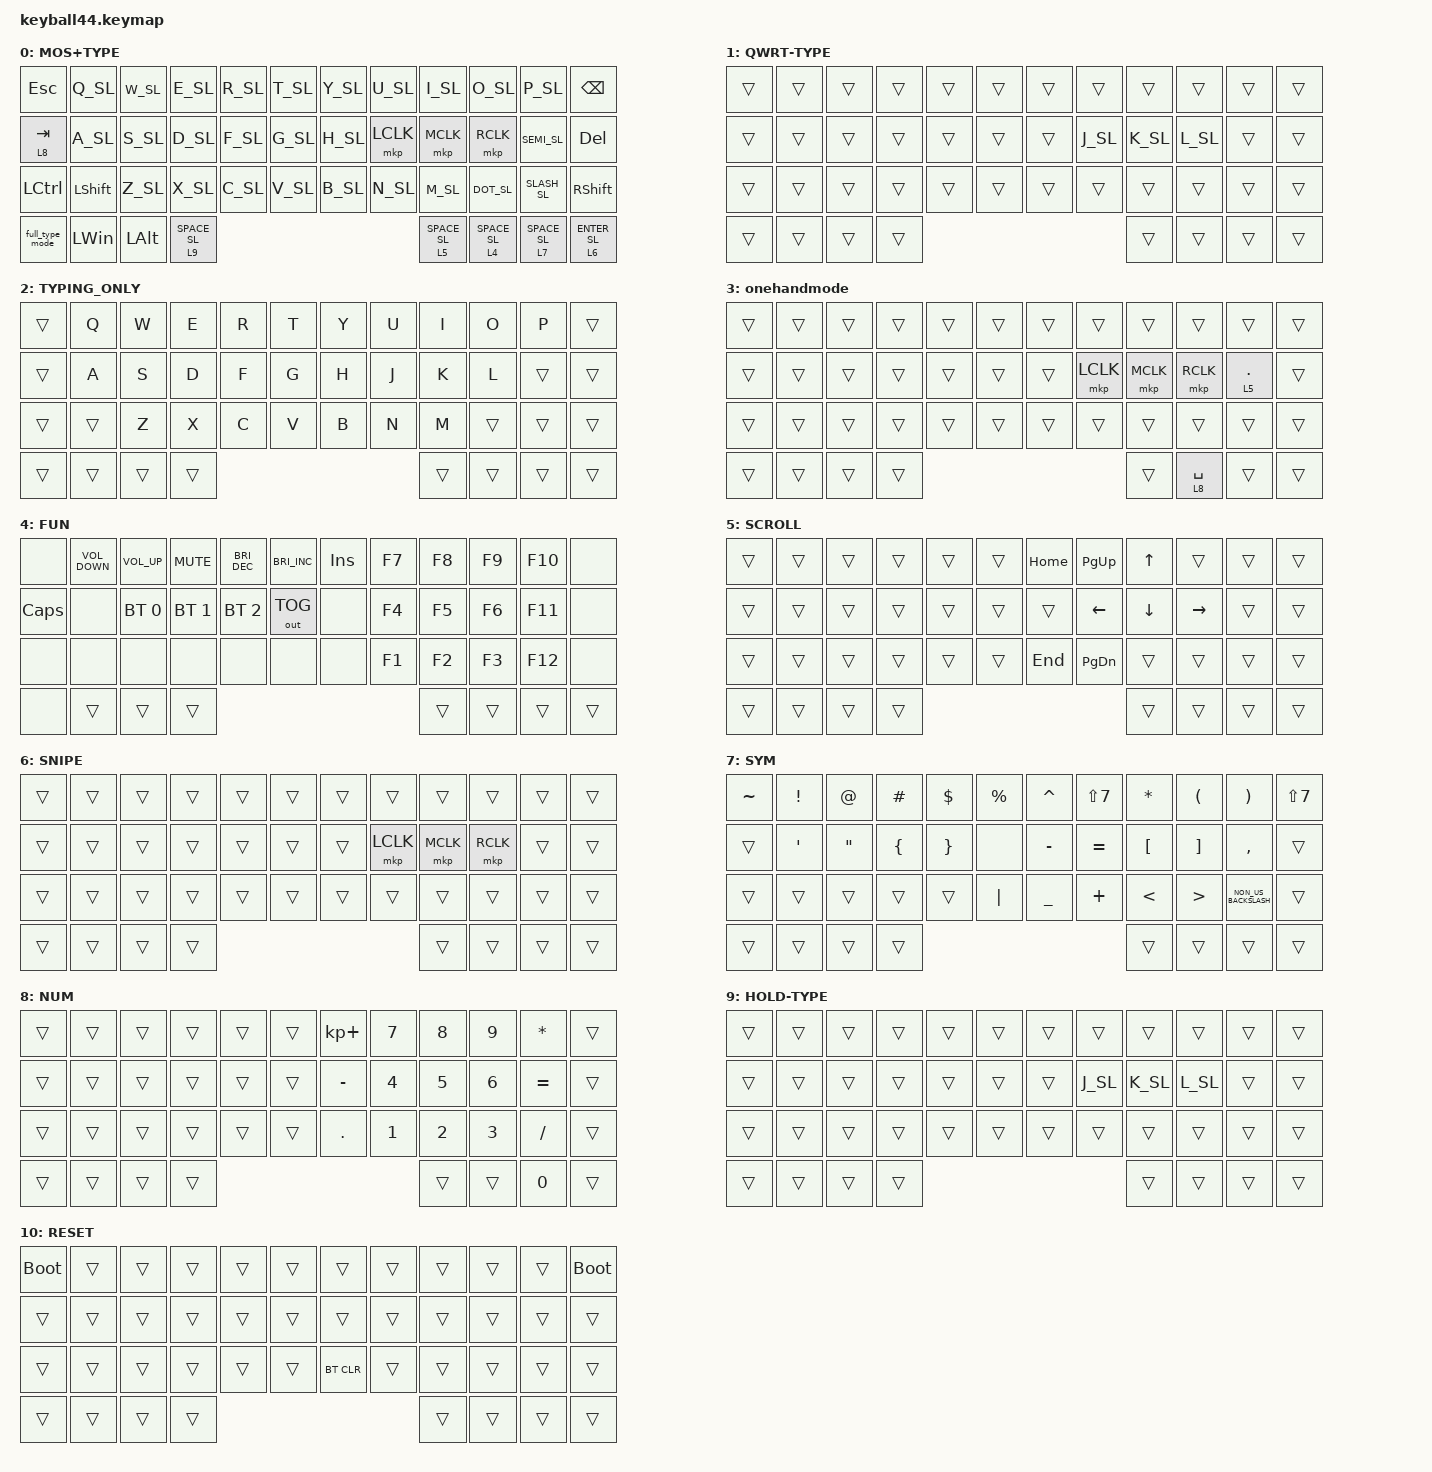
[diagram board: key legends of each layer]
#define DEFAULT 0
#define NUM     1
#define SYM     2
#define FUN     3
#define MOUSE   4
#define SCROLL  5
#define SNIPE   6

#include <behaviors/mouse_keys.dtsi>
#include <dt-bindings/zmk/mouse.h>
#include <behaviors.dtsi>
#include <dt-bindings/zmk/bt.h>
#include <dt-bindings/zmk/keys.h>
#include <dt-bindings/zmk/outputs.h>

&lt { flavor = "balanced"; };

&mt {
    tapping-term-ms = <200>;
    flavor = "tap-preferred";
    quick-tap-ms = <150>;
};

&caps_word { continue-list = <UNDERSCORE MINUS>; };

&sl { release-after-ms = <500>; };

/ {
    // custom shift using mod-morph 

    behaviors {
        cmqus: comma_question {
            compatible = "zmk,behavior-mod-morph";
            label = "COMMA_QUESTION";
            #binding-cells = <0>;
            bindings = <&kp COMMA>, <&kp QUESTION>;

            mods = <(MOD_LSFT|MOD_RSFT)>;
        };

        dtsmi: dot_semi {
            compatible = "zmk,behavior-mod-morph";
            label = "DOT_SEMI";
            #binding-cells = <0>;
            bindings = <&kp DOT>, <&kp SEMI>;

            mods = <(MOD_LSFT|MOD_RSFT)>;
        };

        test2: test2 {
            compatible = "zmk,behavior-sticky-key";
            label = "TEST2";
            bindings = <&kp>;
            #binding-cells = <1>;
            release-after-ms = <500>;
        };

        spacenum: spacenum {
            compatible = "zmk,behavior-hold-tap";
            label = "SPACENUM";
            bindings = <&mo>, <&SPACE_SL>;

            #binding-cells = <2>;
            tapping-term-ms = <200>;
        };

        new_space: new_space {
            compatible = "zmk,behavior-hold-tap";
            label = "NEW_SPACE";
            bindings = <&mo>, <&SPACE_SL>;

            #binding-cells = <2>;
            tapping-term-ms = <150>;
            quick-tap-ms = <100>;
            flavor = "tap-preferred";
        };

        sem: sem {
            compatible = "zmk,behavior-tap-dance";
            label = "SEM";
            #binding-cells = <0>;
            bindings = <&kp SEMICOLON>, <&kp COMMA>;
        };

        shiftkeyboard: shiftkeyboard {
            compatible = "zmk,behavior-tap-dance";
            label = "SHIFTKEYBOARD";
            #binding-cells = <0>;
            bindings = <&lt 2 SPACE>, <&tog 2>;
        };

        doubleL5: doubleL5 {
            compatible = "zmk,behavior-tap-dance";
            label = "DOUBLEL5";
            #binding-cells = <0>;
            bindings = <&lt 5 SPACE>, <&tog 2>;
        };

        spacetype: spacetype {
            compatible = "zmk,behavior-hold-tap";
            label = "SPACETYPE";
            bindings = <&lt>, <&sl>;

            #binding-cells = <2>;
            tapping-term-ms = <200>;
        };

        full_type_mode: full_type_mode {
            compatible = "zmk,behavior-tap-dance";
            label = "FULL_TYPE_MODE";
            #binding-cells = <0>;
            bindings = <&kp LEFT_WIN>, <&tog 2>;
        };

        // Thumb space: hold = momentary layer, tap = SPACE + arm &sl 1.
        // tap-preferred so a fast letter after the space can never steal the
        // space and drop you onto the hold layer instead.
        //
        // Deliberately NO quick-tap-ms here: quick-tap forces a second tap when
        // you re-press within the window, which would turn "space, then hold for
        // SYM" into two spaces -- i.e. it would break typing "a && b".

        spc_lt: spc_lt {
            compatible = "zmk,behavior-hold-tap";
            label = "SPC_LT";
            bindings = <&mo>, <&SPACE_SL>;

            #binding-cells = <2>;
            tapping-term-ms = <150>;
            flavor = "tap-preferred";
        };

        // NOTE: the SYM thumb briefly used a separate hold-preferred behaviour
        // to try to fix SYM+U. It did not -- position 7 fails with any binding,
        // including a macro -- and hold-preferred made the space on that thumb
        // drop whenever a letter landed before the thumb was released. Reverted
        // to plain spc_lt; do not reintroduce hold-preferred on a key that also
        // has to produce spaces.

        // Same, but taps KP_ENTER + arms &sl 1.

        ent_lt: ent_lt {
            compatible = "zmk,behavior-hold-tap";
            label = "ENT_LT";
            bindings = <&mo>, <&ENTER_SL>;

            #binding-cells = <2>;
            tapping-term-ms = <150>;
            flavor = "tap-preferred";
        };

        // Esc / Backspace / Delete are deliberately plain &kp, NOT _SL macros
        // and not hold-taps: they fire on press (no hold-tap release latency),
        // they get native OS auto-repeat, and they do not arm &sl 1 -- so you
        // stay on layer 0 and the mouse buttons are live straight after them.
        // Trade-off: typing j/k/l immediately after one of these will click.
        // ESC_SL / BK_SL / DEL_SL are kept below if you want to swap back.
    };

    combos {
        compatible = "zmk,combos";

        // `layers` keeps these off SYM / NUM / FUN / SCROLL / SNIPE. ZMK matches
        // against the *highest* active layer, so every layer you may toggle
        // from has to be listed here.

        TypingMode {
            bindings = <&tog 2>;
            key-positions = <42 38>;
            layers = <0 1 2 3 9>;
            timeout-ms = <40>;
        };

        onehandmode {
            bindings = <&tog 3>;
            key-positions = <43 41>;
            layers = <0 1 2 3 9>;
            timeout-ms = <30>;
        };

        // NOTE: &bootloader must NOT be put on a combo. It is
        // BEHAVIOR_LOCALITY_EVENT_SOURCE (it resets the half the key physically
        // lives on), but combos invoke their binding with a *virtual* key
        // position, which bypasses split routing -- a combo'd &bootloader can
        // only ever reset the central (right) half. Left-half reset therefore
        // has to stay a plain binding on a left-half key. See the RESET layer.
    };

    macros {
        SPACE_SL: SPACE_SL {
            compatible = "zmk,behavior-macro";
            #binding-cells = <0>;
            bindings = <&kp SPACE &sl 1>;
            label = "&SPACE_SL";
        };

        Q_SL: Q_SL {
            compatible = "zmk,behavior-macro";
            #binding-cells = <0>;
            bindings = <&kp Q &sl 1>;
            label = "Q_SL";
        };

        W_SL: W_SL {
            compatible = "zmk,behavior-macro";
            #binding-cells = <0>;
            bindings = <&kp W &sl 1>;
            label = "W_SL";
        };

        E_SL: E_SL {
            compatible = "zmk,behavior-macro";
            #binding-cells = <0>;
            bindings = <&kp E &sl 1>;
            label = "E_SL";
        };

        R_SL: R_SL {
            compatible = "zmk,behavior-macro";
            #binding-cells = <0>;
            bindings = <&kp R &sl 1>;
            label = "R_SL";
        };

        T_SL: T_SL {
            compatible = "zmk,behavior-macro";
            #binding-cells = <0>;
            bindings = <&kp T &sl 1>;
            label = "T_SL";
        };

        A_SL: A_SL {
            compatible = "zmk,behavior-macro";
            #binding-cells = <0>;
            bindings = <&kp A &sl 1>;
            label = "A_SL";
        };

        B_SL: B_SL {
            compatible = "zmk,behavior-macro";
            #binding-cells = <0>;
            bindings = <&kp B &sl 1>;
            label = "B_SL";
        };

        C_SL: C_SL {
            compatible = "zmk,behavior-macro";
            #binding-cells = <0>;
            bindings = <&kp C &sl 1>;
            label = "C_SL";
        };

        BK_SL: BK_SL {
            compatible = "zmk,behavior-macro";
            #binding-cells = <0>;
            bindings = <&kp BACKSPACE &sl 1>;
            label = "BK_SL";
        };

        DEL_SL: DEL_SL {
            compatible = "zmk,behavior-macro";
            #binding-cells = <0>;
            bindings = <&kp DELETE &sl 1>;
            label = "DEL_SL";
        };

        J_SL: J_SL {
            compatible = "zmk,behavior-macro";
            #binding-cells = <0>;
            bindings = <&kp J &sl 1>;
            label = "J_SL";
        };

        K_SL: K_SL {
            compatible = "zmk,behavior-macro";
            #binding-cells = <0>;
            bindings = <&kp K &sl 1>;
            label = "K_SL";
        };

        L_SL: L_SL {
            compatible = "zmk,behavior-macro";
            #binding-cells = <0>;
            bindings = <&kp L &sl 1>;
            label = "L_SL";
        };

        O_SL: O_SL {
            compatible = "zmk,behavior-macro";
            #binding-cells = <0>;
            bindings = <&kp O &sl 1>;
            label = "O_SL";
        };

        P_SL: P_SL {
            compatible = "zmk,behavior-macro";
            #binding-cells = <0>;
            bindings = <&kp P &sl 1>;
            label = "P_SL";
        };

        H_SL: H_SL {
            compatible = "zmk,behavior-macro";
            #binding-cells = <0>;
            bindings = <&kp H &sl 1>;
            label = "H_SL";
        };

        U_SL: U_SL {
            compatible = "zmk,behavior-macro";
            #binding-cells = <0>;
            bindings = <&kp U &sl 1>;
            label = "U_SL";
        };

        Y_SL: Y_SL {
            compatible = "zmk,behavior-macro";
            #binding-cells = <0>;
            bindings = <&kp Y &sl 1>;
            label = "Y_SL";
        };

        I_SL: I_SL {
            compatible = "zmk,behavior-macro";
            #binding-cells = <0>;
            bindings = <&kp I &sl 1>;
            label = "I_SL";
        };

        S_SL: S_SL {
            compatible = "zmk,behavior-macro";
            #binding-cells = <0>;
            bindings = <&kp S &sl 1>;
            label = "S_SL";
        };

        V_SL: V_SL {
            compatible = "zmk,behavior-macro";
            #binding-cells = <0>;
            bindings = <&kp V &sl 1>;
            label = "V_SL";
        };

        M_SL: M_SL {
            compatible = "zmk,behavior-macro";
            #binding-cells = <0>;
            bindings = <&kp M &sl 1>;
            label = "M_SL";
        };

        N_SL: N_SL {
            compatible = "zmk,behavior-macro";
            #binding-cells = <0>;
            bindings = <&kp N &sl 1>;
            label = "N_SL";
        };

        D_SL: D_SL {
            compatible = "zmk,behavior-macro";
            #binding-cells = <0>;
            bindings = <&kp D &sl 1>;
            label = "D_SL";
        };

        F_SL: F_SL {
            compatible = "zmk,behavior-macro";
            #binding-cells = <0>;
            bindings = <&kp F &sl 1>;
            label = "F_SL";
        };

        G_SL: G_SL {
            compatible = "zmk,behavior-macro";
            #binding-cells = <0>;
            bindings = <&kp G &sl 1>;
            label = "G_SL";
        };

        Z_SL: Z_SL {
            compatible = "zmk,behavior-macro";
            #binding-cells = <0>;
            bindings = <&kp Z &sl 1>;
            label = "Z_SL";
        };

        X_SL: X_SL {
            compatible = "zmk,behavior-macro";
            #binding-cells = <0>;
            bindings = <&kp X &sl 1>;
            label = "X_SL";
        };

        // Non-letter keys that occur inside a typing flow must arm &sl 1 too,
        // otherwise the next j/k/l falls through to layer 0 and clicks.

        ESC_SL: ESC_SL {
            compatible = "zmk,behavior-macro";
            #binding-cells = <0>;
            bindings = <&kp ESC &sl 1>;
            label = "ESC_SL";
        };

        SEMI_SL: SEMI_SL {
            compatible = "zmk,behavior-macro";
            #binding-cells = <0>;
            bindings = <&kp SEMICOLON &sl 1>;
            label = "SEMI_SL";
        };

        DOT_SL: DOT_SL {
            compatible = "zmk,behavior-macro";
            #binding-cells = <0>;
            bindings = <&kp DOT &sl 1>;
            label = "DOT_SL";
        };

        SLASH_SL: SLASH_SL {
            compatible = "zmk,behavior-macro";
            #binding-cells = <0>;
            bindings = <&kp SLASH &sl 1>;
            label = "SLASH_SL";
        };

        ENTER_SL: ENTER_SL {
            compatible = "zmk,behavior-macro";
            #binding-cells = <0>;
            bindings = <&kp KP_ENTER &sl 1>;
            label = "ENTER_SL";
        };

    };

    keymap {
        compatible = "zmk,keymap";

        default_layer {
            label = "MOS+TYPE";
            bindings = <
&kp ESC           &Q_SL           &W_SL         &E_SL          &R_SL          &T_SL                     &Y_SL          &U_SL      &I_SL      &O_SL      &P_SL     &kp BACKSPACE
&lt 8 TAB         &A_SL           &S_SL         &D_SL          &F_SL          &G_SL                     &H_SL          &mkp LCLK  &mkp MCLK  &mkp RCLK  &SEMI_SL  &kp DEL
&kp LEFT_CONTROL  &kp LEFT_SHIFT  &Z_SL         &X_SL          &C_SL          &V_SL                     &B_SL          &N_SL      &M_SL      &DOT_SL    &SLASH_SL &kp RIGHT_SHIFT
&full_type_mode   &kp LEFT_WIN    &kp LEFT_ALT  &spc_lt 9 0    &spc_lt 5 0               &spc_lt 4 0    &spc_lt 7 0                                                &ent_lt 6 0
            >;
        };

        TRANS_LAYER {
            bindings = <
&trans  &trans  &trans  &trans  &trans  &trans              &trans  &trans  &trans  &trans  &trans  &trans
&trans  &trans  &trans  &trans  &trans  &trans              &trans  &J_SL   &K_SL   &L_SL   &trans  &trans
&trans  &trans  &trans  &trans  &trans  &trans              &trans  &trans  &trans  &trans  &trans  &trans
&trans  &trans  &trans  &trans  &trans              &trans  &trans                                  &trans
            >;

            label = "QWRT-TYPE";
        };

        FULL_TYPE {
            label = "TYPING_ONLY";
            bindings = <
&trans  &kp Q   &kp W   &kp E   &kp R   &kp T              &kp Y   &kp U  &kp I  &kp O   &kp P   &trans
&trans  &kp A   &kp S   &kp D   &kp F   &kp G              &kp H   &kp J  &kp K  &kp L   &trans  &trans
&trans  &trans  &kp Z   &kp X   &kp C   &kp V              &kp B   &kp N  &kp M  &trans  &trans  &trans
&trans  &trans  &trans  &trans  &trans             &trans  &trans                                &trans
            >;
        };

        onehandmode {
            bindings = <
&trans  &trans  &trans  &trans  &trans  &trans                   &trans  &trans     &trans     &trans     &trans        &trans
&trans  &trans  &trans  &trans  &trans  &trans                   &trans  &mkp LCLK  &mkp MCLK  &mkp RCLK  &lt 5 PERIOD  &trans
&trans  &trans  &trans  &trans  &trans  &trans                   &trans  &trans     &trans     &trans     &trans        &trans
&trans  &trans  &trans  &trans  &trans              &lt 8 SPACE  &trans                                                 &trans
            >;

            label = "onehandmode";
        };

        function_layer {
            label = "FUN";
            bindings = <
&none        &kp C_VOLUME_DOWN  &kp C_VOLUME_UP  &kp C_MUTE    &kp C_BRIGHTNESS_DEC  &kp C_BRIGHTNESS_INC              &kp INSERT  &kp F7  &kp F8  &kp F9  &kp F10  &none
&kp CAPS     &none              &bt BT_SEL 0     &bt BT_SEL 1  &bt BT_SEL 2          &out OUT_TOG                      &none       &kp F4  &kp F5  &kp F6  &kp F11  &none
&none        &none              &none            &none         &none                 &none                             &none       &kp F1  &kp F2  &kp F3  &kp F12  &none
&none        &trans             &trans           &trans        &trans                                          &trans  &trans                                       &trans
            >;
        };

        scroll_layer {
            label = "SCROLL";
            bindings = <
&trans  &trans  &trans  &trans  &trans  &trans              &kp HOME  &kp PG_UP  &kp UP    &trans     &trans  &trans
&trans  &trans  &trans  &trans  &trans  &trans              &trans    &kp LEFT   &kp DOWN  &kp RIGHT  &trans  &trans
&trans  &trans  &trans  &trans  &trans  &trans              &kp END   &kp PG_DN  &trans    &trans     &trans  &trans
&trans  &trans  &trans  &trans  &trans              &trans  &trans                                            &trans
            >;
        };

        snipe_layer {
            label = "SNIPE";
            bindings = <
&trans       &trans  &trans        &trans        &trans        &trans              &trans  &trans     &trans     &trans     &trans  &trans
&trans       &trans  &trans        &trans        &trans        &trans              &trans  &mkp LCLK  &mkp MCLK  &mkp RCLK  &trans  &trans
&trans       &trans  &trans        &trans        &trans        &trans              &trans  &trans     &trans     &trans     &trans  &trans
&trans       &trans  &trans        &trans        &trans                    &trans  &trans                                           &trans
            >;
        };

        // & is bound TWICE on purpose. Position 7 (U) is its natural home, but
        // that key does not register while the SYM thumb is held -- verified
        // with a plain &kp and with a macro, so it is not a keymap fault.
        // Position 11 (Backspace) is the one that actually works; use SYM+
        // Backspace to type &. Position 7 is left bound so it starts working
        // by itself if the underlying hardware issue is ever fixed.

        symbol_layer {
            label = "SYM";
            bindings = <
&kp TILDE  &kp EXCLAMATION   &kp AT_SIGN        &kp HASH        &kp DOLLAR       &kp PERCENT               &kp CARET       &kp LS(NUMBER_7)  &kp ASTERISK      &kp LEFT_PARENTHESIS  &kp RIGHT_PARENTHESIS  &kp LS(NUMBER_7)
&trans     &kp SINGLE_QUOTE  &kp DOUBLE_QUOTES  &kp LEFT_BRACE  &kp RIGHT_BRACE  &none                     &kp MINUS       &kp EQUAL         &kp LEFT_BRACKET  &kp RIGHT_BRACKET     &kp COMMA              &trans
&trans     &trans            &trans             &trans          &trans           &kp PIPE                  &kp UNDERSCORE  &kp PLUS          &kp LESS_THAN     &kp GREATER_THAN      &kp NON_US_BACKSLASH   &trans
&trans     &trans            &trans             &trans          &trans                             &trans  &trans                                                                                           &trans
            >;
        };

        number_layer {
            label = "NUM";
            bindings = <
&trans  &trans  &trans  &trans  &trans  &trans              &kp KP_PLUS  &kp N7  &kp N8  &kp N9  &kp ASTERISK  &trans
&trans  &trans  &trans  &trans  &trans  &trans              &kp MINUS    &kp N4  &kp N5  &kp N6  &kp EQUAL     &trans
&trans  &trans  &trans  &trans  &trans  &trans              &kp PERIOD   &kp N1  &kp N2  &kp N3  &kp SLASH     &trans
&trans  &trans  &trans  &trans  &trans              &trans  &kp N0                                             &trans
            >;
        };

        // Identical to TRANS_LAYER, but reached by *holding* the left thumb
        // space. It has to be a separate index: ZMK layer state is a plain
        // bitmask with no refcount, so if the hold and the sticky key both
        // targeted layer 1 the sticky's release would switch the layer off
        // underneath the held key.

        MOUSE_OFF {
            label = "HOLD-TYPE";
            bindings = <
&trans  &trans  &trans  &trans  &trans  &trans              &trans  &trans  &trans  &trans  &trans  &trans
&trans  &trans  &trans  &trans  &trans  &trans              &trans  &J_SL   &K_SL   &L_SL   &trans  &trans
&trans  &trans  &trans  &trans  &trans  &trans              &trans  &trans  &trans  &trans  &trans  &trans
&trans  &trans  &trans  &trans  &trans              &trans  &trans                                  &trans
            >;
        };

        // Reached by holding the inner two RIGHT thumbs (pos 41 -> FUN and
        // pos 42 -> SYM) for 150ms, via the conditional layer at the bottom.
        //
        // Esc (pos 0) is on the LEFT half and Backspace (pos 11) on the RIGHT,
        // so each one resets its own side -- &bootloader runs on the half the
        // key physically belongs to. Because both trigger thumbs are right-half
        // keys, the RIGHT bootloader needs nothing from the left half.
        //
        // The LEFT bootloader cannot be made independent: a ZMK peripheral does
        // not run the keymap at all, so any keyboard-driven reset of the left
        // half needs the right half alive to resolve the binding and route it.
        // If the right half is dead, the left half's only reset is the physical
        // button under the OLED cover.
        //
        // BT_CLR is central-locality, so it is put on the right half too.

        RESET {
            label = "RESET";
            bindings = <
&bootloader  &trans  &trans  &trans  &trans  &trans              &trans  &trans  &trans  &trans  &trans  &bootloader
&trans       &trans  &trans  &trans  &trans  &trans              &trans  &trans  &trans  &trans  &trans  &trans
&trans       &trans  &trans  &trans  &trans  &trans              &bt BT_CLR  &trans  &trans  &trans  &trans  &trans
&trans       &trans  &trans  &trans  &trans              &trans  &trans                                  &trans
            >;
        };
    };

    conditional_layers {
        compatible = "zmk,conditional-layers";

        // Both trigger layers are on the RIGHT half on purpose (pos 41 = FUN,
        // pos 42 = SYM). The right half is the central and runs standalone, so
        // its bootloader must never depend on the left half being alive.

        reset_layer {
            if-layers = <4 7>;
            then-layer = <10>;
        };
    };
};
